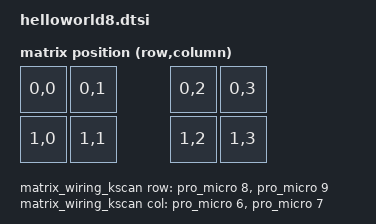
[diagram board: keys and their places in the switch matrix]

#include <dt-bindings/zmk/matrix_transform.h>

/ {

    chosen {
        zmk,kscan = &matrix_wiring_kscan;
        zmk,matrix-transform = &matrix_wiring_transform;
    };

    matrix_wiring_kscan: matrix_wiring_kscan {
        compatible = "zmk,kscan-gpio-matrix";
        label = "matrix_wiring_kscan";
        wakeup-source;
        diode-direction = "col2row";

        col-gpios
            = <&pro_micro 6 GPIO_ACTIVE_HIGH>
            , <&pro_micro 7 GPIO_ACTIVE_HIGH>
            ;

        row-gpios
            = <&pro_micro 8 (GPIO_ACTIVE_HIGH | GPIO_PULL_DOWN)>
            , <&pro_micro 9 (GPIO_ACTIVE_HIGH | GPIO_PULL_DOWN)>
            ;
    };

    matrix_wiring_transform: matrix_wiring_transform {
        compatible = "zmk,matrix-transform";
        columns = <4>;
        rows = <2>;
        map = <
            RC(0,0) RC(0,1)             RC(0,2) RC(0,3)
            RC(1,0) RC(1,1)             RC(1,2) RC(1,3)
        >;
    };
};
